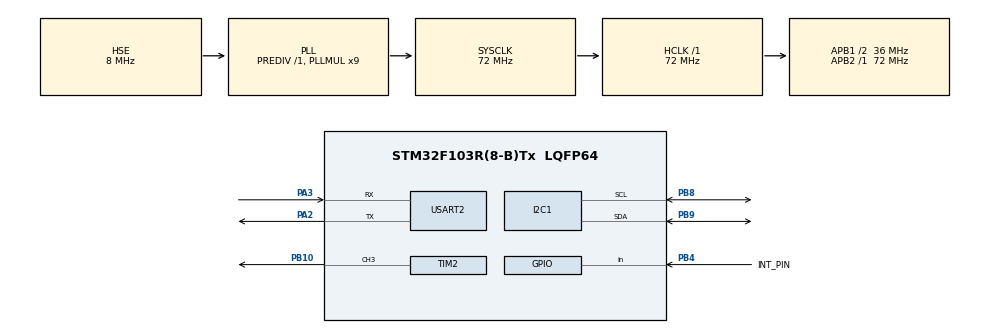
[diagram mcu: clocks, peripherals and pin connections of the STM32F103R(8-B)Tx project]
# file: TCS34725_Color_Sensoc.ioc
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Mcu.Family=STM32F1
Mcu.Name=STM32F103R(8-B)Tx
Mcu.Package=LQFP64
NVIC.PriorityGroup=NVIC_PRIORITYGROUP_4
PA13.Mode=Serial_Wire
PA13.Signal=SYS_JTMS-SWDIO
PA14.Mode=Serial_Wire
PA14.Signal=SYS_JTCK-SWCLK
PA2.Mode=Asynchronous
PA2.Signal=USART2_TX
PA3.Mode=Asynchronous
PA3.Signal=USART2_RX
PB10.Signal=S_TIM2_CH3
PB4.GPIO_Label=INT_PIN
PB4.GPIO_PuPd=GPIO_PULLUP
PB4.Signal=GPIO_Input
PB8.Mode=I2C
PB8.Signal=I2C1_SCL
PB9.Mode=I2C
PB9.Signal=I2C1_SDA
PD0-OSC_IN.Mode=HSE-External-Oscillator
PD0-OSC_IN.Signal=RCC_OSC_IN
PD1-OSC_OUT.Mode=HSE-External-Oscillator
PD1-OSC_OUT.Signal=RCC_OSC_OUT
ProjectManager.HeapSize=0x200
ProjectManager.StackSize=0x400
ProjectManager.TargetToolchain=MDK-ARM V5
RCC.AHBFreq_Value=72000000
RCC.APB1CLKDivider=RCC_HCLK_DIV2
RCC.APB1Freq_Value=36000000
RCC.APB1TimFreq_Value=72000000
RCC.APB2Freq_Value=72000000
RCC.APB2TimFreq_Value=72000000
RCC.HCLKFreq_Value=72000000
RCC.PLLMUL=RCC_PLL_MUL9
RCC.PLLSourceVirtual=RCC_PLLSOURCE_HSE
RCC.SYSCLKFreq_VALUE=72000000
RCC.SYSCLKSource=RCC_SYSCLKSOURCE_PLLCLK
RCC.USBFreq_Value=72000000
SH.S_TIM2_CH3.0=TIM2_CH3,PWM Generation3 CH3
TIM2.AutoReloadPreload=TIM_AUTORELOAD_PRELOAD_ENABLE
TIM2.Channel-PWM\ Generation3\ CH3=TIM_CHANNEL_3
TIM2.Period=2000-1
TIM2.Prescaler=36-1
USART2.VirtualMode=VM_ASYNC
board=TCS34725_Color_Sensoc

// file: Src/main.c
/**
  ******************************************************************************
  * File Name          : main.c
  * Description        : Main program body
  ******************************************************************************
  ** This notice applies to any and all portions of this file
  * that are not between comment pairs USER CODE BEGIN and
  * USER CODE END. Other portions of this file, whether
  * inserted by the user or by software development tools
  * are owned by their respective copyright owners.
  *
  * COPYRIGHT(c) 2019 STMicroelectronics
  *
  * Redistribution and use in source and binary forms, with or without modification,
  * are permitted provided that the following conditions are met:
  *   1. Redistributions of source code must retain the above copyright notice,
  *      this list of conditions and the following disclaimer.
  *   2. Redistributions in binary form must reproduce the above copyright notice,
  *      this list of conditions and the following disclaimer in the documentation
  *      and/or other materials provided with the distribution.
  *   3. Neither the name of STMicroelectronics nor the names of its contributors
  *      may be used to endorse or promote products derived from this software
  *      without specific prior written permission.
  *
  * THIS SOFTWARE IS PROVIDED BY THE COPYRIGHT HOLDERS AND CONTRIBUTORS "AS IS"
  * AND ANY EXPRESS OR IMPLIED WARRANTIES, INCLUDING, BUT NOT LIMITED TO, THE
  * IMPLIED WARRANTIES OF MERCHANTABILITY AND FITNESS FOR A PARTICULAR PURPOSE ARE
  * DISCLAIMED. IN NO EVENT SHALL THE COPYRIGHT HOLDER OR CONTRIBUTORS BE LIABLE
  * FOR ANY DIRECT, INDIRECT, INCIDENTAL, SPECIAL, EXEMPLARY, OR CONSEQUENTIAL
  * DAMAGES (INCLUDING, BUT NOT LIMITED TO, PROCUREMENT OF SUBSTITUTE GOODS OR
  * SERVICES; LOSS OF USE, DATA, OR PROFITS; OR BUSINESS INTERRUPTION) HOWEVER
  * CAUSED AND ON ANY THEORY OF LIABILITY, WHETHER IN CONTRACT, STRICT LIABILITY,
  * OR TORT (INCLUDING NEGLIGENCE OR OTHERWISE) ARISING IN ANY WAY OUT OF THE USE
  * OF THIS SOFTWARE, EVEN IF ADVISED OF THE POSSIBILITY OF SUCH DAMAGE.
  *
  ******************************************************************************
  */
#include "main.h"
#include "stm32f1xx_hal.h"
#include "i2c.h"
#include "tim.h"
#include "usart.h"
#include "gpio.h"

/* USER CODE BEGIN Includes */
#include <stdio.h>
#include "DEV_Config.h"
#include "TCS34725.h"
/* USER CODE END Includes */

/* USER CODE BEGIN PV */
/* Private variables ---------------------------------------------------------*/

/* USER CODE END PV */

void SystemClock_Config(void);

/* USER CODE BEGIN PFP */
/* Private function prototypes -----------------------------------------------*/

/* USER CODE END PFP */

int main(void)
{

  /* USER CODE BEGIN 1 */
	RGB rgb;
	UDOUBLE RGB888=0;
	UWORD   RGB565=0;
  /* USER CODE END 1 */

  /* MCU Configuration----------------------------------------------------------*/

  /* Reset of all peripherals, Initializes the Flash interface and the Systick. */
  HAL_Init();

  /* Configure the system clock */
  SystemClock_Config();

  /* Initialize all configured peripherals */
  MX_GPIO_Init();
  MX_USART2_UART_Init();
  MX_I2C1_Init();
  MX_TIM2_Init();

  /* USER CODE BEGIN 2 */

	HAL_TIM_PWM_Start(&htim2, TIM_CHANNEL_3);
	if(TCS34725_Init() != 0){
        printf("TCS34725 initialization error!!\r\n");
				return 0;
    }
    printf("TCS34725 initialization success!!\r\n");

	//TCS34725_Onboard_LED(20);
  /* USER CODE END 2 */

  /* Infinite loop */
  while (1)
  {

  /* USER CODE BEGIN 3 */

		rgb=TCS34725_Get_RGBData();
		RGB888=TCS34725_GetRGB888(rgb);
		RGB565=TCS34725_GetRGB565(rgb);
		printf("RGB888 :R=%d   G=%d  B=%d \r\n", (RGB888>>16), (RGB888>>8) & 0xff, (RGB888) & 0xff );
		printf("RGB888=0X%X  RGB565=0X%X \r\n",RGB888, RGB565);
//		if(TCS34725_GetLux_Interrupt(0xff00, 0x0Cff) == 1){
//				printf("Lux_Interrupt = 1\r\n");
//		}else{
//				printf("Lux_Interrupt = 0\r\n");
//		}
		printf("\r\n");
		//DEV_Delay_ms(300);

  }
  /* USER CODE END 3 */

}

/** System Clock Configuration
*/
void SystemClock_Config(void)
{

  RCC_OscInitTypeDef RCC_OscInitStruct;
  RCC_ClkInitTypeDef RCC_ClkInitStruct;

    /**Initializes the CPU, AHB and APB busses clocks
    */
  RCC_OscInitStruct.OscillatorType = RCC_OSCILLATORTYPE_HSE;
  RCC_OscInitStruct.HSEState = RCC_HSE_ON;
  RCC_OscInitStruct.HSEPredivValue = RCC_HSE_PREDIV_DIV1;
  RCC_OscInitStruct.HSIState = RCC_HSI_ON;
  RCC_OscInitStruct.PLL.PLLState = RCC_PLL_ON;
  RCC_OscInitStruct.PLL.PLLSource = RCC_PLLSOURCE_HSE;
  RCC_OscInitStruct.PLL.PLLMUL = RCC_PLL_MUL9;
  if (HAL_RCC_OscConfig(&RCC_OscInitStruct) != HAL_OK)
  {
    _Error_Handler(__FILE__, __LINE__);
  }

    /**Initializes the CPU, AHB and APB busses clocks
    */
  RCC_ClkInitStruct.ClockType = RCC_CLOCKTYPE_HCLK|RCC_CLOCKTYPE_SYSCLK
                              |RCC_CLOCKTYPE_PCLK1|RCC_CLOCKTYPE_PCLK2;
  RCC_ClkInitStruct.SYSCLKSource = RCC_SYSCLKSOURCE_PLLCLK;
  RCC_ClkInitStruct.AHBCLKDivider = RCC_SYSCLK_DIV1;
  RCC_ClkInitStruct.APB1CLKDivider = RCC_HCLK_DIV2;
  RCC_ClkInitStruct.APB2CLKDivider = RCC_HCLK_DIV1;

  if (HAL_RCC_ClockConfig(&RCC_ClkInitStruct, FLASH_LATENCY_2) != HAL_OK)
  {
    _Error_Handler(__FILE__, __LINE__);
  }

    /**Configure the Systick interrupt time
    */
  HAL_SYSTICK_Config(HAL_RCC_GetHCLKFreq()/1000);

    /**Configure the Systick
    */
  HAL_SYSTICK_CLKSourceConfig(SYSTICK_CLKSOURCE_HCLK);

  /* SysTick_IRQn interrupt configuration */
  HAL_NVIC_SetPriority(SysTick_IRQn, 0, 0);
}

void _Error_Handler(char * file, int line)
{
  while(1)
  {
  }
}

/************************ (C) COPYRIGHT STMicroelectronics *****END OF FILE****/
